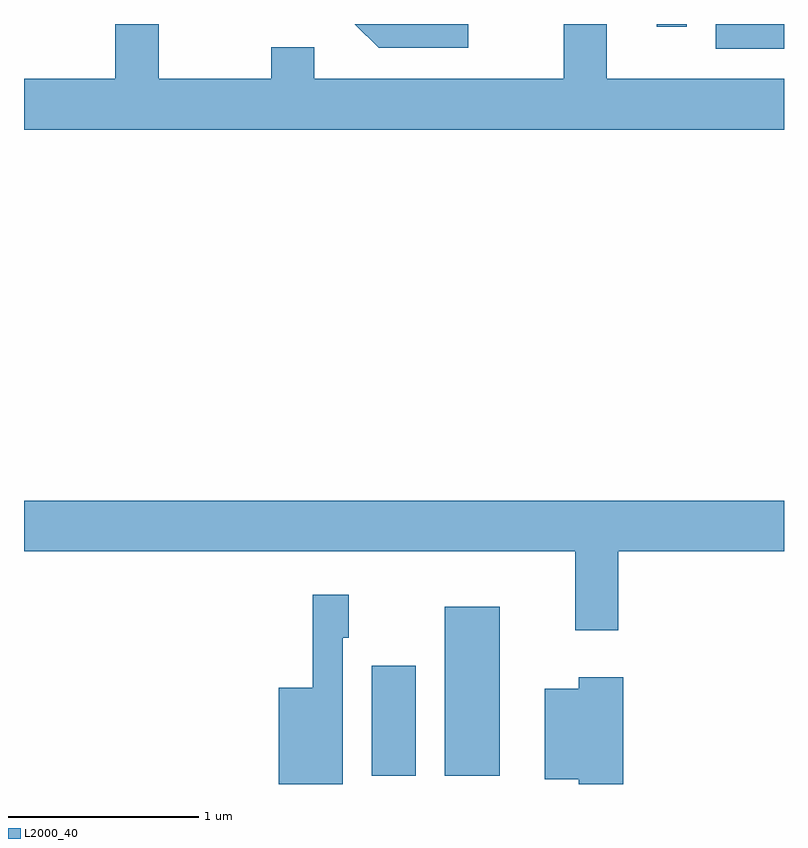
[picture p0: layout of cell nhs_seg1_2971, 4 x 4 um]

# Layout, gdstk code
import gdstk
lib = gdstk.Library(unit=1e-6, precision=1e-09)
def R(c, l, rs):  # rectangles x0, y0, x1, y1
    for r in rs: c.add(gdstk.rectangle(r[:2], r[2:], *l))
def P(c, l, *ps):  # polygons
    for p in ps: c.add(gdstk.Polygon(p, *l))
L2000_40 = (2000, 40)

nhs_seg1_2971 = lib.new_cell('nhs_seg1_2971')
R(nhs_seg1_2971, L2000_40, [(277.441,871.756,277.674,872.334), (277.826,871.756,278.114,872.644), (279.251,875.581,279.611,875.712), (278.941,875.698,279.099,875.712)])
P(nhs_seg1_2971, L2000_40, [(279.611,875.424),(278.679,875.424),(278.679,875.712),(278.451,875.712),(278.451,875.424),(277.139,875.424),(277.139,875.589),(276.911,875.589),(276.911,875.424),(276.319,875.424),(276.319,875.712),(276.091,875.712),(276.091,875.424),(275.611,875.424),(275.611,875.156),(279.611,875.156)],
  [(277.948,875.712),(277.353,875.712),(277.479,875.586),(277.948,875.586)],
  [(278.739,872.936),(279.611,872.936),(279.611,873.204),(275.611,873.204),(275.611,872.936),(278.511,872.936),(278.511,872.521),(278.739,872.521)],
  [(277.289,872.481),(277.319,872.481),(277.319,872.709),(277.131,872.709),(277.131,872.219),(276.951,872.219),(276.951,871.712),(277.289,871.712)],
  [(278.764,872.274),(278.531,872.274),(278.531,872.214),(278.351,872.214),(278.351,871.736),(278.531,871.736),(278.531,871.712),(278.764,871.712)])

lib.write_gds('nhs_seg1_2971.gds')
